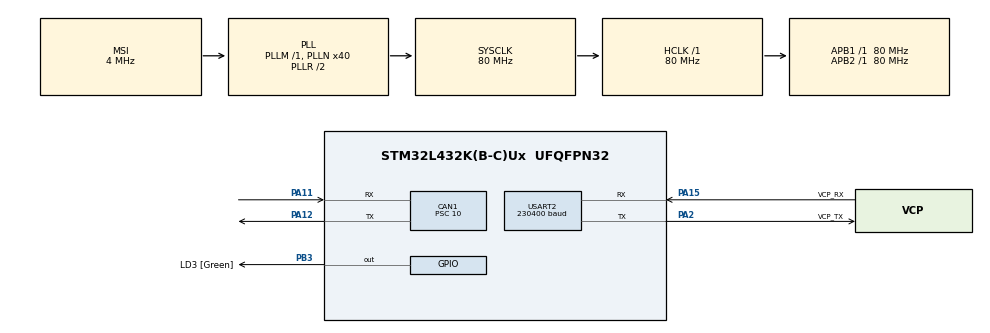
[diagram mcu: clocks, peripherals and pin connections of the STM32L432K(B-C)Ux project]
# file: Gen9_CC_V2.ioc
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CAN1.ABOM=DISABLE
CAN1.AWUM=DISABLE
CAN1.BS1=CAN_BS1_11TQ
CAN1.BS2=CAN_BS2_4TQ
CAN1.CalculateTimeBit=2000
CAN1.CalculateTimeQuantum=125.0
CAN1.Prescaler=10
Dma.Request0=USART2_RX
Dma.Request1=USART2_TX
Dma.USART2_RX.0.Direction=DMA_PERIPH_TO_MEMORY
Dma.USART2_RX.0.Instance=DMA1_Channel6
Dma.USART2_RX.0.MemDataAlignment=DMA_MDATAALIGN_BYTE
Dma.USART2_RX.0.MemInc=DMA_MINC_ENABLE
Dma.USART2_RX.0.Mode=DMA_CIRCULAR
Dma.USART2_RX.0.PeriphDataAlignment=DMA_PDATAALIGN_BYTE
Dma.USART2_RX.0.PeriphInc=DMA_PINC_DISABLE
Dma.USART2_RX.0.Priority=DMA_PRIORITY_MEDIUM
Dma.USART2_TX.1.Direction=DMA_MEMORY_TO_PERIPH
Dma.USART2_TX.1.Instance=DMA1_Channel7
Dma.USART2_TX.1.MemDataAlignment=DMA_MDATAALIGN_BYTE
Dma.USART2_TX.1.MemInc=DMA_MINC_ENABLE
Dma.USART2_TX.1.Mode=DMA_NORMAL
Dma.USART2_TX.1.PeriphDataAlignment=DMA_PDATAALIGN_BYTE
Dma.USART2_TX.1.PeriphInc=DMA_PINC_DISABLE
Dma.USART2_TX.1.Priority=DMA_PRIORITY_LOW
FREERTOS.INCLUDE_eTaskGetState=1
FREERTOS.INCLUDE_vTaskDelayUntil=1
FREERTOS.INCLUDE_xQueueGetMutexHolder=1
FREERTOS.INCLUDE_xSemaphoreGetMutexHolder=1
FREERTOS.INCLUDE_xTaskGetCurrentTaskHandle=1
FREERTOS.Mutexes01=controlVarsMtx,Dynamic,NULL
FREERTOS.Queues01=mainCanTxQ,32,Can_frame_t,NULL,Dynamic,NULL,NULL;mainCanRxQ,32,Can_frame_t,NULL,Dynamic,NULL,NULL;BadNodesQ,32,uint8_t,NULL,Dynamic,NULL,NULL;motCanTxQ,8,Can_frame_t,NULL,Dynamic,NULL,NULL;motCanRxQ,8,Can_frame_t,NULL,Dynamic,NULL,NULL
FREERTOS.Tasks01=Kick_Dog,2,256,doKickDog,Default,NULL,Dynamic,NULL,NULL;RT_Handler,1,512,doRealTime,Default,NULL,Dynamic,NULL,NULL;Can_Processor,0,512,doProcessCan,Default,NULL,Dynamic,NULL,NULL;Node_Manager,-1,512,doNodeManager,Default,NULL,Dynamic,NULL,NULL
FREERTOS.configCHECK_FOR_STACK_OVERFLOW=2
FREERTOS.configENABLE_BACKWARD_COMPATIBILITY=0
FREERTOS.configMAX_PRIORITIES=6
FREERTOS.configMINIMAL_STACK_SIZE=256
FREERTOS.configTIMER_QUEUE_LENGTH=64
FREERTOS.configTIMER_TASK_PRIORITY=5
FREERTOS.configTIMER_TASK_STACK_DEPTH=1024
FREERTOS.configTOTAL_HEAP_SIZE=32768
FREERTOS.configUSE_ALTERNATIVE_API=0
FREERTOS.configUSE_MALLOC_FAILED_HOOK=1
FREERTOS.configUSE_PORT_OPTIMISED_TASK_SELECTION=1
FREERTOS.configUSE_TASK_NOTIFICATIONS=0
FREERTOS.configUSE_TIMERS=1
FREERTOS.configUSE_TRACE_FACILITY=0
Mcu.Family=STM32L4
Mcu.Name=STM32L432K(B-C)Ux
Mcu.Package=UFQFPN32
NVIC.CAN1_RX0_IRQn=true\:5\:0\:false\:false\:true\:true
NVIC.CAN1_RX1_IRQn=true\:5\:0\:false\:false\:true\:true
NVIC.CAN1_SCE_IRQn=true\:5\:0\:false\:false\:true\:true
NVIC.CAN1_TX_IRQn=true\:5\:0\:false\:false\:true\:true
NVIC.DMA1_Channel6_IRQn=true\:5\:0\:false\:false\:true\:true
NVIC.DMA1_Channel7_IRQn=true\:5\:0\:false\:false\:true\:true
NVIC.PriorityGroup=NVIC_PRIORITYGROUP_4
NVIC.TIM6_DAC_IRQn=true\:0\:0\:false\:false\:true\:false
NVIC.TimeBase=TIM6_DAC_IRQn
NVIC.TimeBaseIP=TIM6
NVIC.USART2_IRQn=true\:5\:0\:false\:false\:true\:true
PA0-CK_IN.GPIO_Label=MCO [High speed clock in]
PA0-CK_IN.Signal=RCC_CK_IN
PA11.Mode=Master
PA11.Signal=CAN1_RX
PA12.Mode=Master
PA12.Signal=CAN1_TX
PA13\ (JTMS-SWDIO).GPIO_Label=SWDIO
PA13\ (JTMS-SWDIO).Signal=SYS_JTMS-SWDIO
PA14\ (JTCK-SWCLK).GPIO_Label=SWCLK
PA14\ (JTCK-SWCLK).Signal=SYS_JTCK-SWCLK
PA15\ (JTDI).GPIO_Label=VCP_RX
PA15\ (JTDI).Mode=Asynchronous
PA15\ (JTDI).Signal=USART2_RX
PA2.GPIO_Label=VCP_TX
PA2.Mode=Asynchronous
PA2.Signal=USART2_TX
PB3\ (JTDO-TRACESWO).GPIO_Label=LD3 [Green]
PB3\ (JTDO-TRACESWO).Signal=GPIO_Output
PC14-OSC32_IN\ (PC14).Signal=RCC_OSC32_IN
PC15-OSC32_OUT\ (PC15).Signal=RCC_OSC32_OUT
ProjectManager.HeapSize=0x200
ProjectManager.StackSize=0x400
ProjectManager.TargetToolchain=SW4STM32
RCC.AHBCLKDivider=RCC_SYSCLK_DIV1
RCC.AHBFreq_Value=80000000
RCC.APB1Freq_Value=80000000
RCC.APB1TimFreq_Value=80000000
RCC.APB2Freq_Value=80000000
RCC.APB2TimFreq_Value=80000000
RCC.ClockTypeHCLK=RCC_CLOCKTYPE_HCLK
RCC.ClockTypePCLK1=RCC_CLOCKTYPE_PCLK1
RCC.ClockTypePCLK2=RCC_CLOCKTYPE_PCLK2
RCC.ClockTypeSysClk=RCC_CLOCKTYPE_SYSCLK
RCC.CortexFreq_Value=80000000
RCC.EnableCSSLSE=false
RCC.EnbaleCSS=false
RCC.HCLKFreq_Value=80000000
RCC.HSE_VALUE=8000000
RCC.HSI16_VALUE=16000000
RCC.HSI48_VALUE=48000000
RCC.HSI_VALUE=16000000
RCC.LSE_VALUE=32768
RCC.MSIClockRange=RCC_MSIRANGE_6
RCC.MSI_VALUE=4000000
RCC.PLLMUL=RCC_PLLMUL_4
RCC.PLLN=40
RCC.PLLR=RCC_PLLR_DIV2
RCC.SYSCLKFreq_VALUE=80000000
RCC.SYSCLKSource=RCC_SYSCLKSOURCE_PLLCLK
RCC.VCOOutputFreq_Value=160000000
USART2.BaudRate=230400
USART2.HwFlowCtl-Asynchronous=UART_HWCONTROL_NONE
USART2.VirtualMode-Asynchronous=VM_ASYNC
USART2.WordLength=WORDLENGTH_8B
VP_FREERTOS_VS_ENABLE.Mode=Enabled
VP_SYS_VS_tim6.Mode=TIM6
VP_WWDG_VS_WWDG.Mode=WWDG_Activate
WWDG.Counter=127
WWDG.Prescaler=WWDG_PRESCALER_8
WWDG.Window=127
board=NUCLEO-L432KC

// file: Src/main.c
/**
  ******************************************************************************
  * File Name          : main.c
  * Description        : Main program body
  ******************************************************************************
  *
  * Copyright (c) 2017 STMicroelectronics International N.V.
  * All rights reserved.
  *
  * Redistribution and use in source and binary forms, with or without
  * modification, are permitted, provided that the following conditions are met:
  *
  * 1. Redistribution of source code must retain the above copyright notice,
  *    this list of conditions and the following disclaimer.
  * 2. Redistributions in binary form must reproduce the above copyright notice,
  *    this list of conditions and the following disclaimer in the documentation
  *    and/or other materials provided with the distribution.
  * 3. Neither the name of STMicroelectronics nor the names of other
  *    contributors to this software may be used to endorse or promote products
  *    derived from this software without specific written permission.
  * 4. This software, including modifications and/or derivative works of this
  *    software, must execute solely and exclusively on microcontroller or
  *    microprocessor devices manufactured by or for STMicroelectronics.
  * 5. Redistribution and use of this software other than as permitted under
  *    this license is void and will automatically terminate your rights under
  *    this license.
  *
  * THIS SOFTWARE IS PROVIDED BY STMICROELECTRONICS AND CONTRIBUTORS "AS IS"
  * AND ANY EXPRESS, IMPLIED OR STATUTORY WARRANTIES, INCLUDING, BUT NOT
  * LIMITED TO, THE IMPLIED WARRANTIES OF MERCHANTABILITY, FITNESS FOR A
  * PARTICULAR PURPOSE AND NON-INFRINGEMENT OF THIRD PARTY INTELLECTUAL PROPERTY
  * RIGHTS ARE DISCLAIMED TO THE FULLEST EXTENT PERMITTED BY LAW. IN NO EVENT
  * SHALL STMICROELECTRONICS OR CONTRIBUTORS BE LIABLE FOR ANY DIRECT, INDIRECT,
  * INCIDENTAL, SPECIAL, EXEMPLARY, OR CONSEQUENTIAL DAMAGES (INCLUDING, BUT NOT
  * LIMITED TO, PROCUREMENT OF SUBSTITUTE GOODS OR SERVICES; LOSS OF USE, DATA,
  * OR PROFITS; OR BUSINESS INTERRUPTION) HOWEVER CAUSED AND ON ANY THEORY OF
  * LIABILITY, WHETHER IN CONTRACT, STRICT LIABILITY, OR TORT (INCLUDING
  * NEGLIGENCE OR OTHERWISE) ARISING IN ANY WAY OUT OF THE USE OF THIS SOFTWARE,
  * EVEN IF ADVISED OF THE POSSIBILITY OF SUCH DAMAGE.
  *
  ******************************************************************************
  */
#include "main.h"
#include "stm32l4xx_hal.h"
#include "cmsis_os.h"

/* USER CODE BEGIN Includes */
#include "can.h"
#include "serial.h"
#include "nodeMiscHelpers.h"
#include "nodeConf.h"
#include "../../CAN_ID.h"

// RTOS Task functions + helpers
#include "Can_Processor.h"
#ifndef DISABLE_RT
//#include "RT_Handler.h"
#endif
#include "Node_Manager.h"

/* USER CODE END Includes */

CAN_HandleTypeDef hcan1;

UART_HandleTypeDef huart2;
DMA_HandleTypeDef hdma_usart2_rx;
DMA_HandleTypeDef hdma_usart2_tx;

WWDG_HandleTypeDef hwwdg;

osThreadId Kick_DogHandle;
osThreadId RT_HandlerHandle;
osThreadId Can_ProcessorHandle;
osThreadId Node_ManagerHandle;
osMessageQId mainCanTxQHandle;
osMessageQId mainCanRxQHandle;
osMessageQId BadNodesQHandle;
osMessageQId motCanTxQHandle;
osMessageQId motCanRxQHandle;
osMutexId controlVarsMtxHandle;

/* USER CODE BEGIN PV */
/* Private variables ---------------------------------------------------------*/
#ifndef NODE_CONFIGURED
#error "NODE NOT CONFIGURED. GO CONFIGURE IT IN NODECONF.H!"
#endif

//osMutexId nodeEntryMtxHandle[16];		// Mutex for every node table entry
QueueHandle_t * nodeEntryMtxHandle = (QueueHandle_t[MAX_NODE_NUM]){};
osTimerId * nodeTmrHandle = (osTimerId[MAX_NODE_NUM]){};			// Timer for each node's timeout timer
nodeEntry * nodeTable = (nodeEntry[MAX_NODE_NUM]){};
controlVars userInput;
/* USER CODE END PV */

void SystemClock_Config(void);
void Error_Handler(void);
static void MX_GPIO_Init(void);
static void MX_DMA_Init(void);
static void MX_CAN1_Init(void);
static void MX_USART2_UART_Init(void);
static void MX_WWDG_Init(void);
void doKickDog(void const * argument);
void doRealTime(void const * argument);
void doProcessCan(void const * argument);
void doNodeManager(void const * argument);

/* USER CODE BEGIN PFP */
/* Private function prototypes -----------------------------------------------*/

/* USER CODE END PFP */

/* USER CODE BEGIN 0 */
// Handler for node HB timeout
void TmrHBTimeout(void const * argument){
	// TODO: Test if using point in the line below breaks this function
 	uint8_t timerID = (uint8_t)pvTimerGetTimerID((TimerHandle_t)argument);
#ifdef DEBUG
 	Serial2_write(timerID); //Found your raw data, Frank. >:|
 	static uint8_t msg[] = "HB Timeout\n";
	Serial2_writeBytes(msg,sizeof(msg)-1);

#endif
	nodeTable[timerID].nodeConnectionState = UNRELIABLE;
	if((timerID) != mc_nodeID){
		xQueueSend(BadNodesQHandle, &timerID, portMAX_DELAY);
	}
}
/* USER CODE END 0 */

int main(void)
{

  /* USER CODE BEGIN 1 */
	setState(ACTIVE);
  /* USER CODE END 1 */

  /* MCU Configuration----------------------------------------------------------*/

  /* Reset of all peripherals, Initializes the Flash interface and the Systick. */
  HAL_Init();

  /* Configure the system clock */
  SystemClock_Config();

  /* Initialize all configured peripherals */
  MX_GPIO_Init();
  MX_DMA_Init();
  MX_CAN1_Init();
  MX_USART2_UART_Init();
  MX_WWDG_Init();

  /* USER CODE BEGIN 2 */
#ifdef DEBUG
	static uint8_t hbmsg[] = "Command Center booting... \n";
	Serial2_writeBytes(hbmsg, sizeof(hbmsg)-1);
#endif
  setupNodeTable();
  nodeTable[cc_nodeID].nodeStatusWord = ACTIVE;		// Set initial status to ACTIVE

  ////*IF YOU GET HCAN1 NOT DEFINED ERROR, CHECK NODECONF.H FIRST!*////
  bxCan_begin(&hcan1, &mainCanRxQHandle, &mainCanTxQHandle);
  // Set up CAN filter banks
  //XXX forgot the P2P commands?
  bxCan_addMaskedFilterStd(swOffset,0xFF0,0); // Filter: Status word group (ignore nodeID)
  bxCan_addMaskedFilterStd(fwOffset,0xFF0,0); // Filter: Firmware version group (ignore nodeID)
  bxCan_addMaskedFilterStd(p2pOffset,0xFF0,0); // Filter: p2p command group (ignore nodeID)

  bxCan_addMaskedFilterExt(mitsubaFr0,0xFFFFFF0F,0);	// Mitsuba Frame 0
  bxCan_addMaskedFilterExt(mitsubaFr1,0xFFFFFF0F,0);	// Mitsuba Frame 1
  bxCan_addMaskedFilterExt(mitsubaFr2,0xFFFFFF0F,0);	// Mitsuba Frame 2

  /* USER CODE END 2 */

  /* Create the mutex(es) */
  /* definition and creation of controlVarsMtx */
  osMutexDef(controlVarsMtx);
  controlVarsMtxHandle = osMutexCreate(osMutex(controlVarsMtx));

  /* USER CODE BEGIN RTOS_MUTEX */
  /* add mutexes, ... */
  // Node table entry mutex
  // Every entry has a mutex that is associated with the nodeID
  for(uint8_t i =0; i < MAX_NODE_NUM; i++){
	  osMutexDef(i);
	  nodeEntryMtxHandle[i] = (QueueHandle_t)osMutexCreate(osMutex(i));
  }
  /* USER CODE END RTOS_MUTEX */

  /* USER CODE BEGIN RTOS_TIMERS */
  /* start timers, add new ones, ... */
  // Node heartbeat timeout timers
    for(uint8_t TmrID = 0; TmrID < MAX_NODE_NUM; TmrID++){
  	  osTimerDef(TmrID, TmrHBTimeout);
  	  // TODO: Consider passing the nodeTmrHandle+Offset or NULL
  	  nodeTmrHandle[TmrID] = osTimerCreate(osTimer(TmrID), osTimerOnce, TmrID);	// TmrID here is stored directly as a variable
  	  //DISCUSS changePeriod starts the damn timers...
  	  xTimerChangePeriod(nodeTmrHandle[TmrID], Node_HB_Interval, portMAX_DELAY);
  	  xTimerStop(nodeTmrHandle[TmrID], portMAX_DELAY);
  	  //TODO investigate the timer crashes
  	  // One-shot timer since it should be refreshed by the Can Processor upon node HB reception
    }
  /* USER CODE END RTOS_TIMERS */

  /* Create the thread(s) */
  /* definition and creation of Kick_Dog */
  osThreadDef(Kick_Dog, doKickDog, osPriorityHigh, 0, 256);
  Kick_DogHandle = osThreadCreate(osThread(Kick_Dog), NULL);

  /* definition and creation of RT_Handler */
  osThreadDef(RT_Handler, doRealTime, osPriorityAboveNormal, 0, 512);
  RT_HandlerHandle = osThreadCreate(osThread(RT_Handler), NULL);

  /* definition and creation of Can_Processor */
  osThreadDef(Can_Processor, doProcessCan, osPriorityNormal, 0, 512);
  Can_ProcessorHandle = osThreadCreate(osThread(Can_Processor), NULL);

  /* definition and creation of Node_Manager */
  osThreadDef(Node_Manager, doNodeManager, osPriorityBelowNormal, 0, 512);
  Node_ManagerHandle = osThreadCreate(osThread(Node_Manager), NULL);

  /* Create the queue(s) */
  /* definition and creation of mainCanTxQ */
  osMessageQDef(mainCanTxQ, 32, Can_frame_t);
  mainCanTxQHandle = osMessageCreate(osMessageQ(mainCanTxQ), NULL);

  /* definition and creation of mainCanRxQ */
  osMessageQDef(mainCanRxQ, 32, Can_frame_t);
  mainCanRxQHandle = osMessageCreate(osMessageQ(mainCanRxQ), NULL);

  /* definition and creation of BadNodesQ */
  osMessageQDef(BadNodesQ, 32, uint8_t);
  BadNodesQHandle = osMessageCreate(osMessageQ(BadNodesQ), NULL);

  /* definition and creation of motCanTxQ */
  osMessageQDef(motCanTxQ, 8, Can_frame_t);
  motCanTxQHandle = osMessageCreate(osMessageQ(motCanTxQ), NULL);

  /* definition and creation of motCanRxQ */
  osMessageQDef(motCanRxQ, 8, Can_frame_t);
  motCanRxQHandle = osMessageCreate(osMessageQ(motCanRxQ), NULL);

  /* Start scheduler */
  osKernelStart();

  /* We should never get here as control is now taken by the scheduler */

  /* Infinite loop */
  while (1)
  {

  }

}

/** System Clock Configuration
*/
void SystemClock_Config(void)
{

  RCC_OscInitTypeDef RCC_OscInitStruct;
  RCC_ClkInitTypeDef RCC_ClkInitStruct;
  RCC_PeriphCLKInitTypeDef PeriphClkInit;

    /**Initializes the CPU, AHB and APB busses clocks
    */
  RCC_OscInitStruct.OscillatorType = RCC_OSCILLATORTYPE_MSI;
  RCC_OscInitStruct.MSIState = RCC_MSI_ON;
  RCC_OscInitStruct.MSICalibrationValue = 0;
  RCC_OscInitStruct.MSIClockRange = RCC_MSIRANGE_6;
  RCC_OscInitStruct.PLL.PLLState = RCC_PLL_ON;
  RCC_OscInitStruct.PLL.PLLSource = RCC_PLLSOURCE_MSI;
  RCC_OscInitStruct.PLL.PLLM = 1;
  RCC_OscInitStruct.PLL.PLLN = 40;
  RCC_OscInitStruct.PLL.PLLP = RCC_PLLP_DIV7;
  RCC_OscInitStruct.PLL.PLLQ = RCC_PLLQ_DIV2;
  RCC_OscInitStruct.PLL.PLLR = RCC_PLLR_DIV2;
  if (HAL_RCC_OscConfig(&RCC_OscInitStruct) != HAL_OK)
  {
    Error_Handler();
  }

    /**Initializes the CPU, AHB and APB busses clocks
    */
  RCC_ClkInitStruct.ClockType = RCC_CLOCKTYPE_HCLK|RCC_CLOCKTYPE_SYSCLK
                              |RCC_CLOCKTYPE_PCLK1|RCC_CLOCKTYPE_PCLK2;
  RCC_ClkInitStruct.SYSCLKSource = RCC_SYSCLKSOURCE_PLLCLK;
  RCC_ClkInitStruct.AHBCLKDivider = RCC_SYSCLK_DIV1;
  RCC_ClkInitStruct.APB1CLKDivider = RCC_HCLK_DIV1;
  RCC_ClkInitStruct.APB2CLKDivider = RCC_HCLK_DIV1;

  if (HAL_RCC_ClockConfig(&RCC_ClkInitStruct, FLASH_LATENCY_4) != HAL_OK)
  {
    Error_Handler();
  }

  PeriphClkInit.PeriphClockSelection = RCC_PERIPHCLK_USART2;
  PeriphClkInit.Usart2ClockSelection = RCC_USART2CLKSOURCE_PCLK1;
  if (HAL_RCCEx_PeriphCLKConfig(&PeriphClkInit) != HAL_OK)
  {
    Error_Handler();
  }

    /**Configure the main internal regulator output voltage
    */
  if (HAL_PWREx_ControlVoltageScaling(PWR_REGULATOR_VOLTAGE_SCALE1) != HAL_OK)
  {
    Error_Handler();
  }

    /**Configure the Systick interrupt time
    */
  HAL_SYSTICK_Config(HAL_RCC_GetHCLKFreq()/1000);

    /**Configure the Systick
    */
  HAL_SYSTICK_CLKSourceConfig(SYSTICK_CLKSOURCE_HCLK);

  /* SysTick_IRQn interrupt configuration */
  HAL_NVIC_SetPriority(SysTick_IRQn, 15, 0);
}

/* CAN1 init function */
static void MX_CAN1_Init(void)
{

  hcan1.Instance = CAN1;
  hcan1.Init.Prescaler = 10;
  hcan1.Init.Mode = CAN_MODE_NORMAL;
  hcan1.Init.SJW = CAN_SJW_1TQ;
  hcan1.Init.BS1 = CAN_BS1_11TQ;
  hcan1.Init.BS2 = CAN_BS2_4TQ;
  hcan1.Init.TTCM = DISABLE;
  hcan1.Init.ABOM = DISABLE;
  hcan1.Init.AWUM = DISABLE;
  hcan1.Init.NART = DISABLE;
  hcan1.Init.RFLM = DISABLE;
  hcan1.Init.TXFP = DISABLE;
  if (HAL_CAN_Init(&hcan1) != HAL_OK)
  {
    Error_Handler();
  }

}

/* USART2 init function */
static void MX_USART2_UART_Init(void)
{

  huart2.Instance = USART2;
  huart2.Init.BaudRate = 230400;
  huart2.Init.WordLength = UART_WORDLENGTH_8B;
  huart2.Init.StopBits = UART_STOPBITS_1;
  huart2.Init.Parity = UART_PARITY_NONE;
  huart2.Init.Mode = UART_MODE_TX_RX;
  huart2.Init.HwFlowCtl = UART_HWCONTROL_NONE;
  huart2.Init.OverSampling = UART_OVERSAMPLING_16;
  huart2.Init.OneBitSampling = UART_ONE_BIT_SAMPLE_DISABLE;
  huart2.AdvancedInit.AdvFeatureInit = UART_ADVFEATURE_NO_INIT;
  if (HAL_UART_Init(&huart2) != HAL_OK)
  {
    Error_Handler();
  }

}

/* WWDG init function */
static void MX_WWDG_Init(void)
{

  hwwdg.Instance = WWDG;
  hwwdg.Init.Prescaler = WWDG_PRESCALER_8;
  hwwdg.Init.Window = 127;
  hwwdg.Init.Counter = 127;
  hwwdg.Init.EWIMode = WWDG_EWI_DISABLE;
  if (HAL_WWDG_Init(&hwwdg) != HAL_OK)
  {
    Error_Handler();
  }

}

static void MX_DMA_Init(void)
{
  /* DMA controller clock enable */
  LL_AHB1_GRP1_EnableClock(LL_AHB1_GRP1_PERIPH_DMA1);

  /* DMA interrupt init */
  /* DMA1_Channel6_IRQn interrupt configuration */
  HAL_NVIC_SetPriority(DMA1_Channel6_IRQn, 5, 0);
  HAL_NVIC_EnableIRQ(DMA1_Channel6_IRQn);
  /* DMA1_Channel7_IRQn interrupt configuration */
  HAL_NVIC_SetPriority(DMA1_Channel7_IRQn, 5, 0);
  HAL_NVIC_EnableIRQ(DMA1_Channel7_IRQn);

}

/** Configure pins as
        * Analog
        * Input
        * Output
        * EVENT_OUT
        * EXTI
*/
static void MX_GPIO_Init(void)
{

  GPIO_InitTypeDef GPIO_InitStruct;

  /* GPIO Ports Clock Enable */
  __HAL_RCC_GPIOC_CLK_ENABLE();
  __HAL_RCC_GPIOA_CLK_ENABLE();
  __HAL_RCC_GPIOB_CLK_ENABLE();

  /*Configure GPIO pin Output Level */
  HAL_GPIO_WritePin(LD3_GPIO_Port, LD3_Pin, GPIO_PIN_RESET);

  /*Configure GPIO pin : LD3_Pin */
  GPIO_InitStruct.Pin = LD3_Pin;
  GPIO_InitStruct.Mode = GPIO_MODE_OUTPUT_PP;
  GPIO_InitStruct.Pull = GPIO_NOPULL;
  GPIO_InitStruct.Speed = GPIO_SPEED_FREQ_LOW;
  HAL_GPIO_Init(LD3_GPIO_Port, &GPIO_InitStruct);

}

/* doKickDog function */
void doKickDog(void const * argument)
{

  /* USER CODE BEGIN 5 */
#ifndef DISABLE_RT
  /* Infinite loop */
  uint32_t PreviousWakeTime = osKernelSysTick();
  uint8_t motorCanErrCount = 0;
  // Wrapper for RT_Handler task
//  RT_Handler(&PreviousWakeTime, &motorCanErrCount);
#else
  for(;;){
	  osDelay(10000);
  }
#endif
  /* USER CODE END 5 */
}

/* doRealTime function */
void doRealTime(void const * argument)
{
  for(;;)
  {
    osDelay(1);
  }
}

/* doProcessCan function */
void doProcessCan(void const * argument)
{
  /* USER CODE BEGIN doProcessCan */
  /* Infinite loop */
	// Wrapper function for the CAN Processing Logic
	// Handles all CAN Protocol Suite based responses and tasks
	Can_Processor();
  /* USER CODE END doProcessCan */
}

/* doNodeManager function */
void doNodeManager(void const * argument)
{
  /* USER CODE BEGIN doNodeManager */
  /* Infinite loop */
  for(;;)
  {
	// Wrapper for the Node_Manager task
    Node_Manager();
  }
  /* USER CODE END doNodeManager */
}

void HAL_TIM_PeriodElapsedCallback(TIM_HandleTypeDef *htim)
{
  if (htim->Instance == TIM6) {
    HAL_IncTick();
  }
}

void Error_Handler(void)
{
  while(1)
  {
  }
}

/************************ (C) COPYRIGHT STMicroelectronics *****END OF FILE****/
